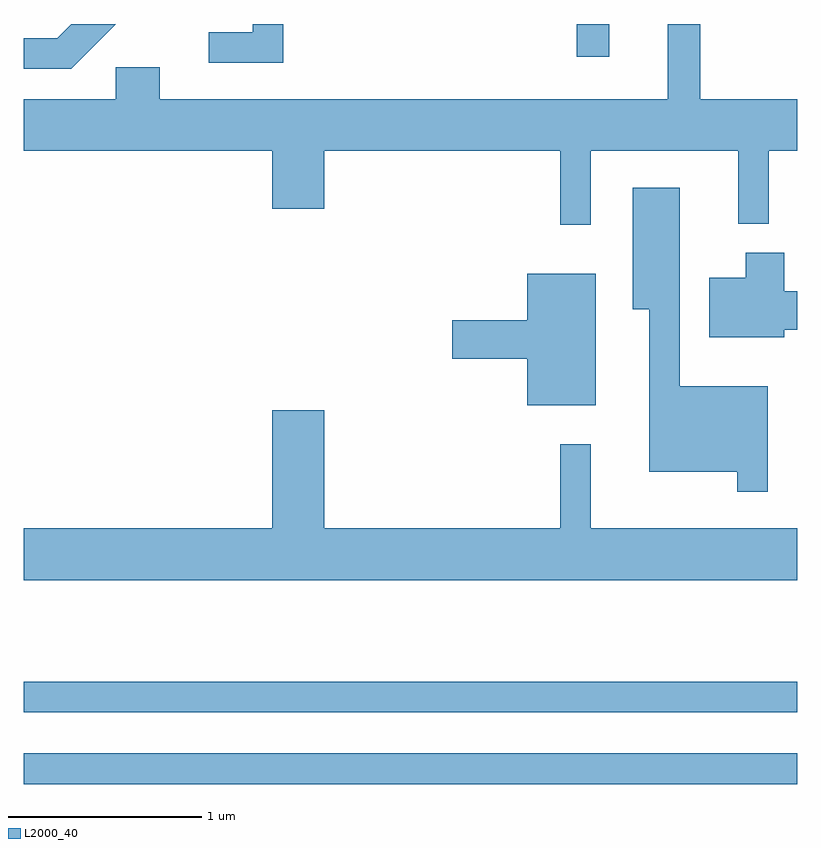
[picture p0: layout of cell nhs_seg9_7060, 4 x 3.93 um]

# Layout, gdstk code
import gdstk
lib = gdstk.Library(unit=1e-6, precision=1e-09)
def R(c, l, rs):  # rectangles x0, y0, x1, y1
    for r in rs: c.add(gdstk.rectangle(r[:2], r[2:], *l))
def P(c, l, *ps):  # polygons
    for p in ps: c.add(gdstk.Polygon(p, *l))
L2000_40 = (2000, 40)

nhs_seg9_7060 = lib.new_cell('nhs_seg9_7060')
R(nhs_seg9_7060, L2000_40, [(393.611,2028.501,397.611,2028.659), (393.611,2028.871,397.611,2029.029), (396.471,2032.263,396.639,2032.432)])
P(nhs_seg9_7060, L2000_40, [(396.544,2031.776),(397.306,2031.776),(397.306,2031.398),(397.464,2031.398),(397.464,2031.776),(397.611,2031.776),(397.611,2032.044),(397.109,2032.044),(397.109,2032.432),(396.941,2032.432),(396.941,2032.044),(394.314,2032.044),(394.314,2032.209),(394.086,2032.209),(394.086,2032.044),(393.611,2032.044),(393.611,2031.776),(394.896,2031.776),(394.896,2031.476),(395.164,2031.476),(395.164,2031.776),(396.386,2031.776),(396.386,2031.393),(396.544,2031.393)],
  [(394.954,2032.432),(394.796,2032.432),(394.796,2032.389),(394.568,2032.389),(394.568,2032.231),(394.954,2032.231)],
  [(394.087,2032.432),(393.857,2032.432),(393.784,2032.359),(393.611,2032.359),(393.611,2032.201),(393.857,2032.201)],
  [(397.459,2030.559),(397.004,2030.559),(397.004,2031.584),(396.761,2031.584),(396.761,2030.956),(396.846,2030.956),(396.846,2030.116),(397.301,2030.116),(397.301,2030.013),(397.459,2030.013)],
  [(397.544,2030.851),(397.611,2030.851),(397.611,2031.049),(397.544,2031.049),(397.544,2031.249),(397.346,2031.249),(397.346,2031.119),(397.156,2031.119),(397.156,2030.811),(397.544,2030.811)],
  [(396.569,2031.139),(396.216,2031.139),(396.216,2030.899),(395.826,2030.899),(395.826,2030.701),(396.216,2030.701),(396.216,2030.461),(396.569,2030.461)],
  [(397.611,2029.824),(396.544,2029.824),(396.544,2030.258),(396.386,2030.258),(396.386,2029.824),(395.164,2029.824),(395.164,2030.434),(394.896,2030.434),(394.896,2029.824),(393.611,2029.824),(393.611,2029.556),(397.611,2029.556)])

lib.write_gds('nhs_seg9_7060.gds')
